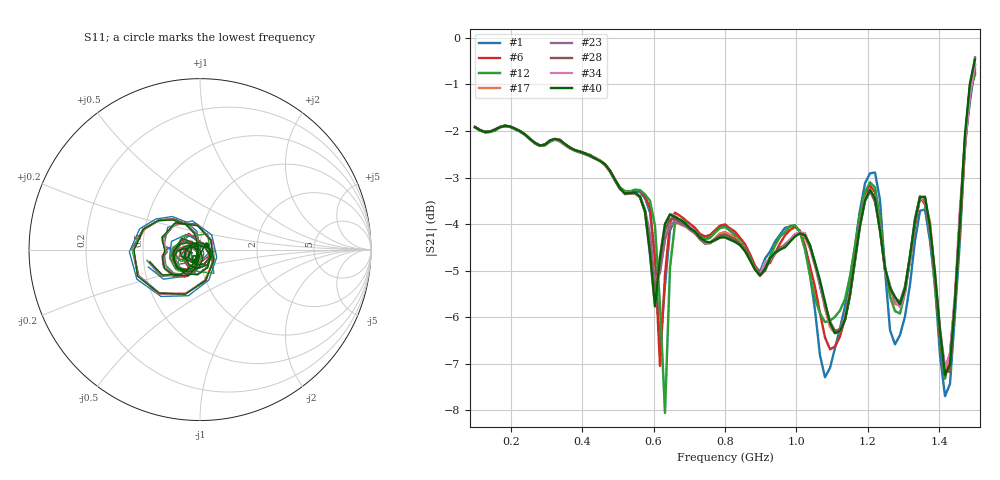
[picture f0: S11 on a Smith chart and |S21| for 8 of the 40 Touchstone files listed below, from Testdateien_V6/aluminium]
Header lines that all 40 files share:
! NanoVNA-App
! Start: 100MHz Stop: 1,5GHz Points: 101
! S-Parameter data: F S11 S21 S12 S22
# Hz S RI R 50
!  Frequency  S11_Real  S11_Imag  S21_Real  S21_Imag  S12_Real  S12_Imag  S22_Real  S22_Imag
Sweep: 100 MHz to 1.5 GHz
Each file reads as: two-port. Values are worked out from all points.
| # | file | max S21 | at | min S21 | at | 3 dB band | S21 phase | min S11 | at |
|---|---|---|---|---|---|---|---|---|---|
| 1 | aluminium (1).s2p | -0.62 dB | 1.5 GHz | -7.7 dB | 1.416 GHz | 100 MHz-576 MHz | 126 deg at 800 MHz | -35.8 dB | 1.444 GHz |
| 2 | aluminium (24).s2p | -0.73 dB | 1.5 GHz | -7.4 dB | 1.43 GHz | 100 MHz-590 MHz | 126 deg at 800 MHz | -47.7 dB | 1.108 GHz |
| 3 | aluminium (25).s2p | -0.61 dB | 1.5 GHz | -7.4 dB | 1.416 GHz | 100 MHz-576 MHz | 126 deg at 800 MHz | -43.5 dB | 1.108 GHz |
| 4 | aluminium (26).s2p | -0.83 dB | 1.5 GHz | -7.3 dB | 1.416 GHz | 100 MHz-590 MHz | 126 deg at 800 MHz | -54.1 dB | 1.108 GHz |
| 5 | aluminium (27).s2p | -0.69 dB | 1.5 GHz | -7.5 dB | 1.416 GHz | 100 MHz-576 MHz | 126 deg at 800 MHz | -48.7 dB | 1.108 GHz |
| 6 | aluminium (28).s2p | -0.75 dB | 1.5 GHz | -7.3 dB | 1.416 GHz | 100 MHz-590 MHz | 126 deg at 800 MHz | -53.9 dB | 1.108 GHz |
| 7 | aluminium (29).s2p | -0.73 dB | 1.5 GHz | -7.4 dB | 1.416 GHz | 100 MHz-590 MHz | 126 deg at 800 MHz | -52.2 dB | 1.108 GHz |
| 8 | aluminium (30).s2p | -0.60 dB | 1.5 GHz | -7.5 dB | 1.416 GHz | 100 MHz-576 MHz | 126 deg at 800 MHz | -65.0 dB | 1.108 GHz |
| 9 | aluminium (31).s2p | -0.78 dB | 1.5 GHz | -7.3 dB | 1.416 GHz | 100 MHz-590 MHz | 126 deg at 800 MHz | -49.3 dB | 1.108 GHz |
| 10 | aluminium (32).s2p | -0.51 dB | 1.5 GHz | -7.5 dB | 1.43 GHz | 100 MHz-576 MHz | 126 deg at 800 MHz | -37.0 dB | 1.108 GHz |
| 11 | aluminium (33).s2p | -0.80 dB | 1.5 GHz | -7.4 dB | 1.416 GHz | 100 MHz-590 MHz | 126 deg at 800 MHz | -51.1 dB | 1.444 GHz |
| 12 | aluminium (34).s2p | -0.79 dB | 1.5 GHz | -8.1 dB | 632 MHz | 100 MHz-590 MHz | 127 deg at 800 MHz | -46.9 dB | 1.444 GHz |
| 13 | aluminium (35).s2p | -0.51 dB | 1.5 GHz | -7.5 dB | 1.416 GHz | 100 MHz-576 MHz | 126 deg at 800 MHz | -47.7 dB | 1.108 GHz |
| 14 | aluminium (36).s2p | -0.49 dB | 1.5 GHz | -7.3 dB | 1.43 GHz | 100 MHz-562 MHz | 126 deg at 800 MHz | -38.1 dB | 870 MHz |
| 15 | aluminium (37).s2p | -0.61 dB | 1.5 GHz | -7.3 dB | 1.416 GHz | 100 MHz-562 MHz | 126 deg at 800 MHz | -40.0 dB | 1.444 GHz |
| 16 | aluminium (38).s2p | -0.72 dB | 1.5 GHz | -7.2 dB | 1.416 GHz | 100 MHz-562 MHz | 126 deg at 800 MHz | -37.7 dB | 870 MHz |
| 17 | aluminium (39).s2p | -0.57 dB | 1.5 GHz | -7.3 dB | 1.416 GHz | 100 MHz-562 MHz | 126 deg at 800 MHz | -41.6 dB | 1.444 GHz |
| 18 | aluminium (40).s2p | -0.77 dB | 1.5 GHz | -7.3 dB | 1.416 GHz | 100 MHz-576 MHz | 126 deg at 800 MHz | -42.8 dB | 1.444 GHz |
| 19 | aluminium (41).s2p | -0.76 dB | 1.5 GHz | -7.4 dB | 1.416 GHz | 100 MHz-576 MHz | 126 deg at 800 MHz | -38.5 dB | 1.444 GHz |
| 20 | aluminium (42).s2p | -0.49 dB | 1.5 GHz | -7.3 dB | 1.416 GHz | 100 MHz-562 MHz | 126 deg at 800 MHz | -43.3 dB | 1.444 GHz |
| 21 | aluminium (43).s2p | -0.52 dB | 1.5 GHz | -7.3 dB | 1.416 GHz | 100 MHz-562 MHz | 126 deg at 800 MHz | -37.8 dB | 870 MHz |
| 22 | aluminium (44).s2p | -0.63 dB | 1.5 GHz | -7.4 dB | 1.43 GHz | 100 MHz-562 MHz | 126 deg at 800 MHz | -38.7 dB | 1.444 GHz |
| 23 | aluminium (45).s2p | -0.41 dB | 1.5 GHz | -7.1 dB | 1.416 GHz | 100 MHz-562 MHz | 126 deg at 800 MHz | -38.5 dB | 1.444 GHz |
| 24 | aluminium (46).s2p | -0.79 dB | 1.5 GHz | -7.4 dB | 1.43 GHz | 100 MHz-576 MHz | 126 deg at 800 MHz | -38.4 dB | 870 MHz |
| 25 | aluminium (47).s2p | -0.47 dB | 1.5 GHz | -7.4 dB | 1.416 GHz | 100 MHz-562 MHz | 126 deg at 800 MHz | -38.5 dB | 870 MHz |
| 26 | aluminium (48).s2p | -0.57 dB | 1.5 GHz | -7.3 dB | 1.43 GHz | 100 MHz-562 MHz | 126 deg at 800 MHz | -38.8 dB | 870 MHz |
| 27 | aluminium (49).s2p | -0.53 dB | 1.5 GHz | -7.1 dB | 1.416 GHz | 100 MHz-562 MHz | 126 deg at 800 MHz | -39.0 dB | 1.444 GHz |
| 28 | aluminium (50).s2p | -0.69 dB | 1.5 GHz | -7.2 dB | 1.43 GHz | 100 MHz-562 MHz | 126 deg at 800 MHz | -38.7 dB | 870 MHz |
| 29 | aluminium (51).s2p | -0.58 dB | 1.5 GHz | -7.2 dB | 1.416 GHz | 100 MHz-562 MHz | 126 deg at 800 MHz | -38.3 dB | 870 MHz |
| 30 | aluminium (52).s2p | -0.56 dB | 1.5 GHz | -7.4 dB | 1.416 GHz | 100 MHz-562 MHz | 126 deg at 800 MHz | -38.3 dB | 870 MHz |
| 31 | aluminium (53).s2p | -0.68 dB | 1.5 GHz | -7.2 dB | 1.416 GHz | 100 MHz-562 MHz | 126 deg at 800 MHz | -37.6 dB | 870 MHz |
| 32 | aluminium (54).s2p | -0.50 dB | 1.5 GHz | -7.0 dB | 1.43 GHz | 100 MHz-562 MHz | 126 deg at 800 MHz | -38.6 dB | 870 MHz |
| 33 | aluminium (55).s2p | -0.64 dB | 1.5 GHz | -7.3 dB | 1.43 GHz | 100 MHz-562 MHz | 126 deg at 800 MHz | -38.0 dB | 870 MHz |
| 34 | aluminium (56).s2p | -0.56 dB | 1.5 GHz | -7.1 dB | 1.416 GHz | 100 MHz-562 MHz | 126 deg at 800 MHz | -37.9 dB | 870 MHz |
| 35 | aluminium (57).s2p | -0.62 dB | 1.5 GHz | -7.2 dB | 1.416 GHz | 100 MHz-562 MHz | 126 deg at 800 MHz | -37.9 dB | 870 MHz |
| 36 | aluminium (58).s2p | -0.49 dB | 1.5 GHz | -7.3 dB | 1.43 GHz | 100 MHz-562 MHz | 126 deg at 800 MHz | -38.5 dB | 870 MHz |
| 37 | aluminium (59).s2p | -0.52 dB | 1.5 GHz | -7.1 dB | 1.416 GHz | 100 MHz-562 MHz | 126 deg at 800 MHz | -38.4 dB | 1.444 GHz |
| 38 | aluminium (60).s2p | -0.48 dB | 1.5 GHz | -7.2 dB | 1.416 GHz | 100 MHz-562 MHz | 126 deg at 800 MHz | -38.1 dB | 870 MHz |
| 39 | aluminium (61).s2p | -0.55 dB | 1.5 GHz | -7.1 dB | 1.416 GHz | 100 MHz-562 MHz | 126 deg at 800 MHz | -39.2 dB | 1.444 GHz |
| 40 | aluminium (62).s2p | -0.46 dB | 1.5 GHz | -7.2 dB | 1.416 GHz | 100 MHz-562 MHz | 126 deg at 800 MHz | -38.4 dB | 870 MHz |
